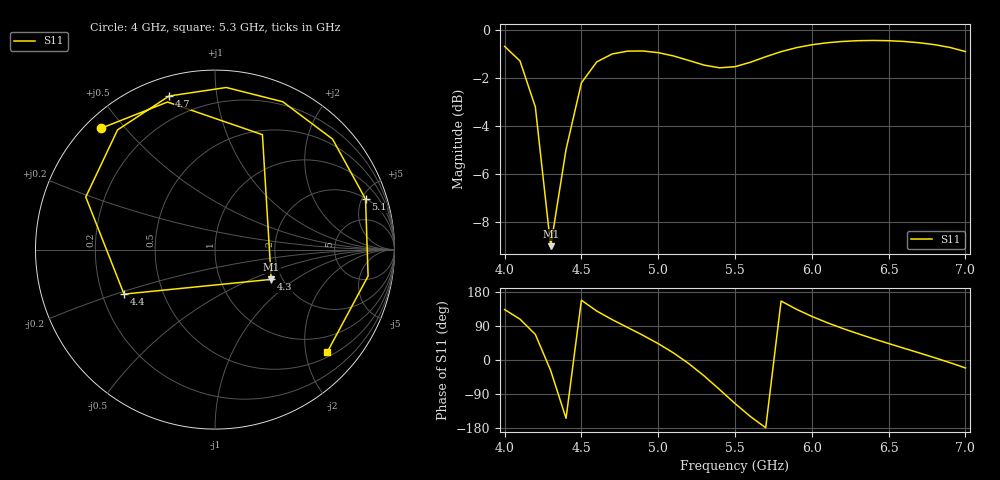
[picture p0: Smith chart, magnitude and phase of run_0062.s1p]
! Touchstone file exported from HFSS 2024.2.0
!  File:  C:/Users/wsak9/Desktop/Sim Fast/Widenad Patch/WP_AI_V1_sweep.aedt
!  Generated:  05:31:18 PM Oct 13, 2026
!  Design:  A1_model
!  Project:  WP_AI_V1_sweep
!  Setup:  Setup1
!  Solution:  Sweep
! Variables:
!  Air_gap = 3.9mm
!  Curve_Amp1 = 2.5
!  Curve_len1 = 1
!  Curve_pos = 13.165mm
!  Extra = 1.93mm
!  H_sub = 0.79mm
!  L_Patch = 22.33mm
!  L_Patch1 = 12.67mm
!  Sx = 4.1mm
!  Sy = 3.9mm
!  WS = 0.72mm
!  W_Patch = 13.34mm
!  W_Patch1 = 10.74mm
!Data is not renormalized
# GHz S MA
! Terminal data exported
! Port[1] = 1
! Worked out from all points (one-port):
!   31 points, 4 GHz to 7 GHz, reference per port
!   lowest |S11| = -9.0 dB at 4.3 GHz (marker M1), VSWR 2.10
!   |S11| at or under -10 dB: nowhere
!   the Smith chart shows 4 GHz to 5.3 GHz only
!   S11 on the Smith chart (normalised r, x): 4 GHz: 0.05, +0.43; 4.3 GHz: 1.75, -0.66; 4.4 GHz: 0.29, -0.21; 4.7 GHz: 0.09, +0.74; 5.1 GHz: 2.07, +5.35; 5.3 GHz: 0.61, -2.45
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4  0.9264 133.1
4.1  0.8638 107.8
4.2  0.6926 67.6
4.3  0.3545 -27.9
4.4  0.5643 -153.9
4.5  0.7774 157.9
4.6  0.8599 129.2
4.7  0.8931 106.6
4.8  0.9054 86.0
4.9  0.9062 65.3
5  0.8989 43.2
5.1  0.8847 18.5
5.2  0.8656 -9.8
5.3  0.8464 -42.3
5.4  0.8357 -78.1
5.5  0.8402 -114.8
5.6  0.8582 -149.0
5.7  0.8814 -178.9
5.8  0.9032 155.6
5.9  0.9206 133.9
6  0.9336 115.1
6.1  0.9427 98.5
6.2  0.9487 83.4
6.3  0.9521 69.4
6.5  0.9521 43.5
6.7  0.9428 18.6
6.9  0.9216 -7.1
7  0.9037 -21.0
